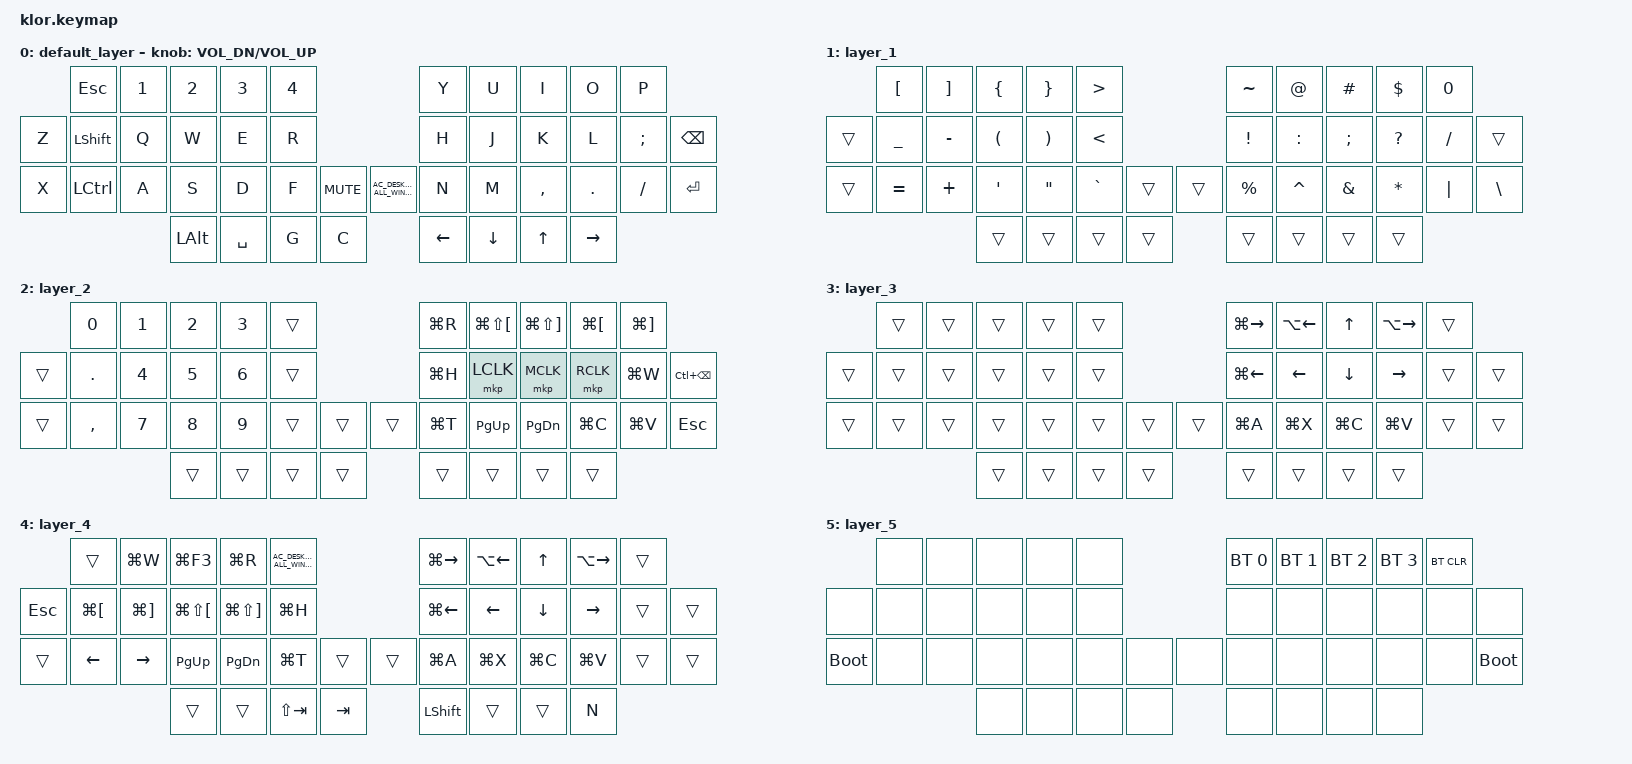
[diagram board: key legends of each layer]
//                               █         █    █            ▄▄▄▀▀▀▀▀▀▄▄▄        █▀▀▀▀▀▀▀▀▀▀█
//                               █        █     █          ▄▀            ▀▄      █          █
//                               █       █      █        ▄▀                ▀▄    █          █
//                               █      █       █        █                  █    █          █
//                               █     █        █       █                    █   █          █
//                               █    █         █       █                    █   █▄▄▄▄▄▄▄▄▄▄█
//                               █   █ █        █       █                    █   █      █
//                               █  █   █       █        █                  █    █       █
//                               █ █     █      █        ▀▄                ▄▀    █        █
//                               ██       █     █          ▀▄            ▄▀      █         █
//                               █         █    █▄▄▄▄▄▄▄▄    ▀▀▀▄▄▄▄▄▄▀▀▀        █          █
//
// ▄▄▄▄▄▄▄▄▄▄▄▄▄▄▄▄▄▄▄▄▄▄▄▄▄▄▄▄▄▄▄▄▄▄▄▄▄▄▄▄▄▄▄▄▄▄▄▄▄▄▄▄▄▄▄▄▄▄▄▄▄▄▄▄▄▄▄▄▄▄▄▄▄▄▄▄▄▄▄▄▄▄▄▄▄▄▄▄▄▄▄▄▄▄▄▄▄▄▄▄▄▄▄▄▄▄▄▄▄▄▄▄▄▄▄▄▄▄▄▄▄▄▄▄
       
#include <behaviors.dtsi>
#include <dt-bindings/zmk/keys.h>
#include <dt-bindings/zmk/bt.h>
#include <dt-bindings/zmk/mouse.h>

/*
 * how to flash: 
 * press two key in the bottom, then DOUBLE click left most key, then it will go into boot mod
 *
 */


/ {
    macros {
        press_gui: press_gui {
            label = "ZM_press_gui";
            compatible = "zmk,behavior-macro";
            #binding-cells = <0>;
            bindings
                = <&macro_press &mo 4 &kp LGUI>
                , <&macro_pause_for_release>
                , <&macro_release &mo 4 &kp LGUI>
                ;
        };
    };

     combos {
        compatible = "zmk,combos";

// this is used for set BLE profile, and reset for current profile
        combo_2 {
            layers = <0>;
            timeout-ms = <50>;
            key-positions = <36 37>;
            bindings = <&mo 5>;
        };



//  SHIFT: make all character capitolized
        combo_14 {
            timeout-ms = <90>;
            key-positions = <38 41>;
            bindings = <&kp LSHFT>;
        };

// add more here

    };




    keymap {
        compatible = "zmk,keymap";
        default_layer {

/*           ┌─────────┬─────────┬─────────┬─────────┬─────────┐                    ┌─────────┬─────────┬─────────┬─────────┬─────────┐
             │    0    │    1    │    2    │    3    │    4    │                    │    5    │    6    │    7    │    8    │    9    │   
   ┌─────────┼─────────┼─────────┼─────────┼─────────┼─────────┤                    ├─────────┼─────────┼─────────┼─────────┼─────────┼─────────┐
   │   10    │    11   │    12   │    13   │    14   │    15   │                    │    16   │    17   │    18   │    19   │    20   │    21   │
   ├─────────┼─────────┼─────────┼─────────┼─────────┼─────────┤╭────────╮╭────────╮├─────────┼─────────┼─────────┼─────────┼─────────┼─────────┤
   │   22    │    23   │    24   │    25   │    26   │    27   ││  MUTE  ││PLY/PSE ││    30   │    31   │    32   │    33   │    34   │    35   │
   └─────────┴─────────┴─────────┼─────────┼─────────┼─────────┼╰────────╯╰────────╯┼─────────┼─────────┼─────────┼─────────┴─────────┴─────────┘
                                 │    36   │    37   │    38   │   ALT   ││ CMD/WIN │    41   │    42   │    43   │  
                                 └─────────┴─────────┴─────────┴─────────┘└─────────┴─────────┴─────────┴─────────┘ */ 
            bindings = <
//╷          ╷         ╷         ╷         ╷         ╷         ╷         ╷╷         ╷         ╷         ╷         ╷         ╷         ╷         ╷

 	    &kp ESC      &kp N1   &kp N2      &kp N3      &kp N4                                                  &kp Y    &kp U     &kp I       &kp O    &kp P    
&kp Z       &kp LSHIFT   &kp Q    &kp W       &kp E       &kp R                                                   &kp H    &kp J     &kp K       &kp L    &kp SEMI   &kp BSPC
&kp X       &kp LCTRL    &kp A    &kp S       &kp D       &kp F  &kp C_MUTE  &kp C_AC_DESKTOP_SHOW_ALL_WINDOWS    &kp N    &kp M     &kp COMMA   &kp DOT  &kp FSLH   &kp RET
                                  &kp LALT    &kp SPACE   &kp G  &kp C                                            &kp LEFT &kp DOWN  &kp UP      &kp RIGHT                                
            >;
            sensor-bindings = <&inc_dec_kp C_VOL_DN C_VOL_UP >;

        };

// 1 /*left hand layer

        layer_1 {
            bindings = <
          &kp LBKT   &kp RBKT   &kp LBRC  &kp RBRC   &kp GT                      &kp TILDE &kp AT      &kp POUND   &kp DLLR     &kp N0
&trans    &kp UNDER  &kp MINUS  &kp LPAR  &kp RPAR   &kp LT                      &kp EXCL  &kp COLON   &kp SEMI    &kp QMARK   &kp FSLH  &trans
&trans    &kp EQUAL  &kp PLUS   &kp SQT   &kp DQT    &kp GRAVE  &trans  &trans   &kp PRCNT &kp CARET   &kp AMPS    &kp STAR    &kp PIPE  &kp BSLH
                                         &trans  &trans  &trans  &trans     &trans  &trans  &trans  &trans 
            >;
        };

// 2 right hand layer

        layer_2 {
            bindings = <
        &kp N0  &kp N1  &kp N2  &kp N3  &trans                     &kp LG(R)   &kp LG(LS(LBKT)) &kp LG(LS(RBKT))  &kp LG(LBKT)  &kp LG(RBKT)
&trans  &kp DOT  &kp N4  &kp N5  &kp N6  &trans                      &kp LG(H)   &mkp LCLK        &mkp MCLK         &mkp RCLK       &kp LG(W)  &kp LC(BSPC)
&trans  &kp COMMA  &kp N7  &kp N8  &kp N9  &trans  &trans     &trans   &kp LG(T)   &kp PG_UP        &kp PG_DN         &kp LG(C)     &kp LG(V)    &kp ESC
                                        &trans  &trans  &trans  &trans     &trans  &trans  &trans  &trans 
           >;
        };

// 3 navigation layer

        layer_3 {
            bindings = <
          &trans   &trans  &trans   &trans    &trans                                &kp LG(RIGHT)    &kp LA(LEFT)    &kp UP     &kp LA(RIGHT)  &trans
&trans   &trans   &trans  &trans   &trans    &trans                                &kp LG(LEFT)     &kp LEFT        &kp DOWN   &kp RIGHT      &trans  &trans
&trans    &trans   &trans  &trans   &trans    &trans  &trans  &trans    &kp LG(A)   &kp LG(X)       &kp LG(C)     &kp LG(V)    &trans  &trans
                                    &trans  &trans  &trans    &trans          &trans   &trans  &trans     &trans            
           >;
        };

// 4 left thumb layer

        layer_4 {
            bindings = <
          &trans         &kp LG(W)     &kp LG(F3)         &kp LG(R)         &kp C_AC_DESKTOP_SHOW_ALL_WINDOWS       &kp LG(RIGHT)    &kp LA(LEFT)    &kp UP     &kp LA(RIGHT)  &trans
&kp ESC   &kp LG(LBKT)   &kp LG(RBKT)  &kp LG(LS(LBKT)) &kp LG(LS(RBKT)) &kp LG(H)                                &kp LG(LEFT)     &kp LEFT        &kp DOWN   &kp RIGHT      &trans  &trans
&trans    &kp LEFT       &kp RIGHT    &kp PG_UP        &kp PG_DN        &kp LG(T)  &trans  &trans    &kp LG(A)   &kp LG(X)       &kp LG(C)     &kp LG(V)    &trans  &trans
                                    &trans  &trans  &kp LS(TAB)    &kp TAB          &kp LSHFT   &trans  &trans     &kp N             
           >;
        };

// 5 boot load layer

        layer_5 {
            bindings = <
              &none &none &none &none &none             &bt BT_SEL 0 &bt BT_SEL 1 &bt BT_SEL 2 &bt BT_SEL 3 &bt BT_CLR
&none         &none &none &none &none &none             &none &none &none &none &none &none  
&bootloader   &none &none &none &none &none &none &none &none &none &none &none &none &bootloader 
                    &none &none &none &none       &none &none &none &none
           >;
        };
    };
};
